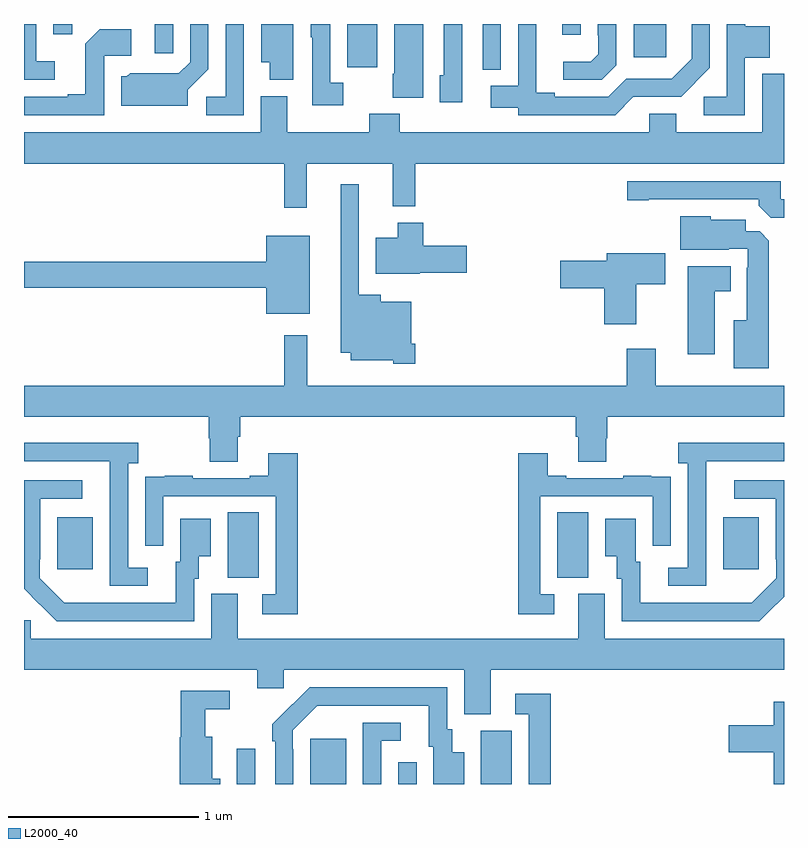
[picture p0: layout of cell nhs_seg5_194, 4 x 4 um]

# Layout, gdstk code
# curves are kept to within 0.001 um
import gdstk
lib = gdstk.Library(unit=1e-6, precision=1e-09)
def R(c, l, rs):  # rectangles x0, y0, x1, y1
    for r in rs: c.add(gdstk.rectangle(r[:2], r[2:], *l))
def P(c, l, *ps):  # polygons
    for p in ps: c.add(gdstk.Polygon(p, *l))
L2000_40 = (2000, 40)

nhs_seg5_194 = lib.new_cell('nhs_seg5_194')
R(nhs_seg5_194, L2000_40, [(122.121,882.799,122.217,882.985), (122.507,882.799,122.695,883.036), (122.97,882.799,123.066,882.913), (123.404,882.799,123.568,883.08), (122.072,883.885,122.236,884.228), (123.806,883.885,123.97,884.228), (121.175,883.929,121.363,884.203), (124.679,883.929,124.867,884.203), (123.414,886.559,123.51,886.799), (122.702,886.572,122.86,886.799), (124.208,886.623,124.381,886.799), (121.689,886.644,121.785,886.799), (123.833,886.743,123.93,886.799), (121.155,886.744,121.253,886.799)])
P(nhs_seg5_194, L2000_40, [(124.116,886.581),(124.116,886.799),(124.02,886.799),(124.02,886.741),(124.023,886.741),(124.023,886.641),(123.983,886.601),(123.837,886.601),(123.837,886.506),(124.041,886.506)],
  [(121.861,886.452),(121.971,886.562),(121.971,886.799),(121.875,886.799),(121.875,886.599),(121.815,886.539),(121.558,886.54),(121.542,886.524),(121.511,886.524),(121.511,886.37),(121.861,886.37)],
  [(124.794,886.622),(124.924,886.622),(124.924,886.786),(124.795,886.786),(124.795,886.799),(124.698,886.799),(124.698,886.416),(124.578,886.416),(124.578,886.32),(124.794,886.32)],
  [(124.207,886.416),(124.458,886.416),(124.608,886.568),(124.608,886.799),(124.514,886.799),(124.514,886.616),(124.408,886.51),(124.306,886.51),(124.306,886.512),(124.17,886.512),(124.074,886.416),(123.793,886.416),(123.793,886.436),(123.697,886.436),(123.697,886.799),(123.6,886.799),(123.6,886.474),(123.456,886.474),(123.456,886.358),(123.6,886.358),(123.6,886.32),(124.111,886.32)],
  [(122.157,886.799),(122.061,886.799),(122.061,886.416),(121.959,886.416),(121.959,886.32),(122.157,886.32)],
  [(121.162,886.603),(121.065,886.603),(121.065,886.799),(121,886.799),(121,886.506),(121.162,886.506)],
  [(122.68,886.491),(122.613,886.491),(122.613,886.799),(122.51,886.799),(122.51,886.728),(122.517,886.728),(122.517,886.371),(122.68,886.371)],
  [(123.1,886.799),(122.948,886.799),(122.948,886.536),(122.942,886.536),(122.942,886.412),(123.1,886.412)],
  [(122.416,886.799),(122.249,886.799),(122.249,886.598),(122.294,886.598),(122.294,886.505),(122.416,886.505)],
  [(123.306,886.799),(123.21,886.799),(123.21,886.53),(123.188,886.53),(123.188,886.386),(123.306,886.386)],
  [(121.422,886.632),(121.564,886.632),(121.564,886.772),(121.399,886.772),(121.323,886.696),(121.323,886.429),(121.229,886.429),(121.229,886.416),(121,886.416),(121,886.32),(121.422,886.32)],
  [(122.489,886.064),(122.942,886.064),(122.942,885.839),(123.059,885.839),(123.059,886.064),(125,886.064),(125,886.537),(124.886,886.537),(124.886,886.228),(124.432,886.228),(124.432,886.327),(124.292,886.327),(124.292,886.228),(122.978,886.228),(122.978,886.327),(122.818,886.327),(122.818,886.228),(122.386,886.228),(122.386,886.42),(122.246,886.42),(122.246,886.228),(121,886.228),(121,886.064),(122.371,886.064),(122.371,885.831),(122.489,885.831)],
  [(125,885.876),(124.983,885.876),(124.983,885.972),(124.176,885.972),(124.176,885.871),(124.288,885.871),(124.288,885.876),(124.868,885.876),(124.868,885.842),(124.929,885.78),(125,885.78)],
  [(123.059,885.115),(123.037,885.115),(123.037,885.337),(122.878,885.337),(122.878,885.373),(122.763,885.373),(122.763,885.955),(122.666,885.955),(122.666,885.068),(122.72,885.068),(122.72,885.029),(122.943,885.029),(122.943,885.011),(123.059,885.011)],
  [(124.921,885.659),(124.872,885.708),(124.798,885.708),(124.798,885.769),(124.614,885.769),(124.614,885.787),(124.454,885.787),(124.454,885.611),(124.709,885.611),(124.709,885.615),(124.809,885.615),(124.809,885.515),(124.805,885.515),(124.805,885.241),(124.736,885.241),(124.736,884.987),(124.921,884.987)],
  [(123.084,885.491),(123.331,885.491),(123.331,885.633),(123.101,885.633),(123.101,885.754),(122.966,885.754),(122.966,885.673),(122.852,885.673),(122.852,885.485),(123.084,885.485)],
  [(122.503,885.685),(122.276,885.685),(122.276,885.548),(121,885.548),(121,885.412),(122.276,885.412),(122.276,885.275),(122.503,885.275)],
  [(124.222,885.43),(124.375,885.43),(124.375,885.592),(124.067,885.592),(124.067,885.554),(123.822,885.554),(123.822,885.407),(124.055,885.407),(124.055,885.219),(124.222,885.219)],
  [(124.636,885.392),(124.72,885.392),(124.72,885.523),(124.493,885.523),(124.493,885.06),(124.636,885.06)],
  [(122.125,884.626),(122.138,884.626),(122.138,884.732),(123.905,884.732),(123.905,884.626),(123.917,884.626),(123.917,884.494),(124.065,884.494),(124.065,884.619),(124.07,884.619),(124.07,884.732),(125,884.732),(125,884.896),(124.324,884.896),(124.324,885.091),(124.172,885.091),(124.172,884.896),(122.49,884.896),(122.49,885.16),(122.371,885.16),(122.371,884.896),(121,884.896),(121,884.732),(121.973,884.732),(121.973,884.619),(121.978,884.619),(121.978,884.494),(122.125,884.494)],
  [(124.59,884.299),(124.591,884.299),(124.591,884.499),(125,884.499),(125,884.596),(124.443,884.596),(124.443,884.486),(124.494,884.486),(124.494,883.938),(124.392,883.938),(124.392,883.842),(124.59,883.842)],
  [(121.651,883.938),(121.548,883.938),(121.548,884.486),(121.6,884.486),(121.6,884.596),(121,884.596),(121,884.499),(121.451,884.499),(121.451,884.299),(121.452,884.299),(121.452,883.842),(121.651,883.842)],
  [(122.441,884.539),(122.285,884.539),(122.285,884.422),(122.189,884.422),(122.189,884.409),(121.889,884.409),(121.889,884.422),(121.741,884.422),(121.741,884.415),(121.639,884.415),(121.639,884.306),(121.638,884.306),(121.638,884.052),(121.734,884.052),(121.734,884.313),(122.325,884.313),(122.325,883.797),(122.253,883.797),(122.253,883.692),(122.441,883.692)],
  [(123.79,883.797),(123.717,883.797),(123.717,884.313),(124.308,884.313),(124.308,884.052),(124.404,884.052),(124.404,884.306),(124.403,884.306),(124.403,884.415),(124.301,884.415),(124.301,884.422),(124.153,884.422),(124.153,884.409),(123.853,884.409),(123.853,884.422),(123.757,884.422),(123.757,884.539),(123.601,884.539),(123.601,883.692),(123.79,883.692)],
  [(124.961,883.747),(124.962,883.746),(125,883.784),(125,884.397),(124.737,884.397),(124.737,884.301),(124.956,884.301),(124.956,883.981),(124.959,883.981),(124.959,883.881),(124.831,883.753),(124.243,883.752),(124.243,883.968),(124.219,883.968),(124.219,884.194),(124.058,884.194),(124.058,883.997),(124.121,883.997),(124.121,883.878),(124.146,883.878),(124.146,883.656),(124.87,883.656)],
  [(121.896,883.878),(121.921,883.878),(121.921,883.997),(121.984,883.997),(121.984,884.194),(121.823,884.194),(121.823,883.968),(121.799,883.968),(121.799,883.752),(121.212,883.753),(121.083,883.881),(121.083,883.981),(121.086,883.981),(121.086,884.301),(121.306,884.301),(121.306,884.397),(121,884.397),(121,883.826),(121.172,883.656),(121.896,883.656)],
  [(123.457,883.4),(125,883.4),(125,883.564),(124.057,883.564),(124.057,883.8),(123.917,883.8),(123.917,883.564),(122.125,883.564),(122.125,883.8),(121.985,883.8),(121.985,883.564),(121.035,883.564),(121.035,883.662),(121,883.662),(121,883.4),(122.228,883.4),(122.228,883.302),(122.367,883.302),(122.367,883.4),(123.317,883.4),(123.317,883.165),(123.457,883.165)],
  [(122.418,882.983),(122.415,882.983),(122.415,883.083),(122.544,883.212),(123.131,883.212),(123.131,882.996),(123.155,882.996),(123.155,882.799),(123.316,882.799),(123.316,882.967),(123.253,882.967),(123.253,883.086),(123.228,883.086),(123.228,883.308),(122.504,883.308),(122.307,883.113),(122.307,883.025),(122.322,883.025),(122.322,882.799),(122.418,882.799)],
  [(122.032,882.826),(121.99,882.826),(121.99,883.048),(121.954,883.048),(121.954,883.193),(122.083,883.193),(122.083,883.29),(121.825,883.29),(121.825,883.044),(121.82,883.044),(121.82,882.799),(122.032,882.799)],
  [(123.773,883.273),(123.585,883.273),(123.585,883.167),(123.657,883.167),(123.657,882.799),(123.773,882.799)],
  [(125,883.231),(124.946,883.231),(124.946,883.107),(124.71,883.107),(124.71,882.965),(124.946,882.965),(124.946,882.799),(125,882.799)],
  [(122.88,883.026),(122.983,883.026),(122.983,883.122),(122.784,883.122),(122.784,882.799),(122.88,882.799)])

lib.write_gds('nhs_seg5_194.gds')
